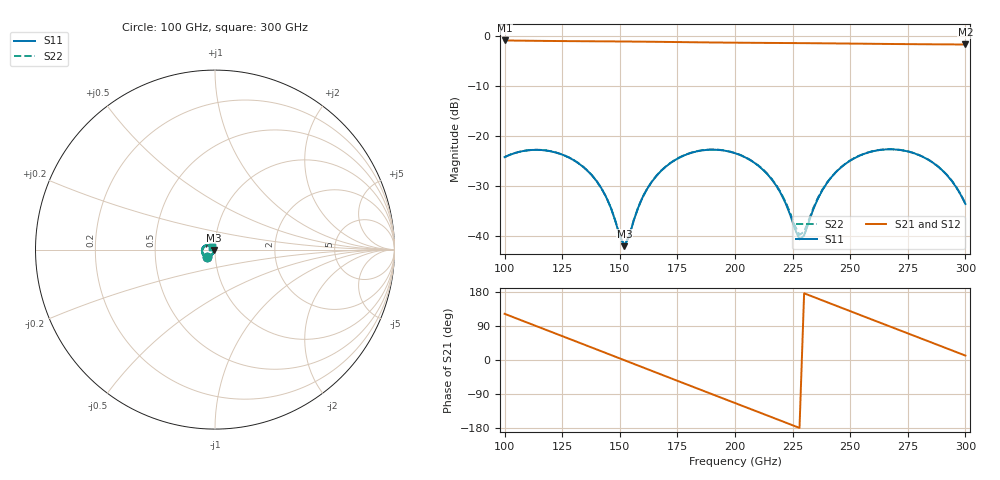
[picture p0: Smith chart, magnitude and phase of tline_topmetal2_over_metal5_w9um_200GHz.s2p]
#  GHZ S DB R 50
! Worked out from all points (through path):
!   101 points, 100 GHz to 300 GHz, reference 50 ohm
!   highest |S21| = -0.91 dB at 100 GHz (marker M1); lowest = -1.7 dB at 300 GHz (marker M2)
!   group delay of S21, straight-line fit = 6.53 ps
!   lowest |S11| = -42.0 dB at 152 GHz (marker M3), VSWR 1.02, Z = 49.2 - j0.145 ohm
!   |S11| at or under -10 dB: start of sweep to end of sweep
!   |S22| runs from -41.9 to -22.6 dB; largest |S21 - S12| = 1e-13
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100  -24.23 -134.6  -0.91 121.9  -0.91 121.9  -24.22 -134.5
116  -22.81 -170.4  -1.00 84.2  -1.00 84.2  -22.80 -170.1
124  -23.56 172.1  -1.03 65.4  -1.03 65.4  -23.54 172.5
134  -26.13 151.8  -1.07 41.9  -1.07 41.9  -26.12 152.3
144  -32.13 138.4  -1.10 18.3  -1.10 18.3  -32.11 139.2
152  -42.02 -169.3  -1.12 -0.6  -1.12 -0.6  -41.86 -168.4
160  -32.17 -115.6  -1.16 -19.5  -1.16 -19.5  -32.12 -115.2
168  -26.94 -125.1  -1.20 -38.4  -1.20 -38.4  -26.91 -124.5
184  -23.02 -157.0  -1.28 -76.0  -1.28 -76.0  -22.99 -156.1
200  -23.44 169.4  -1.36 -113.5  -1.36 -113.5  -23.40 170.7
216  -28.71 140.8  -1.41 -151.1  -1.41 -151.1  -28.61 142.9
222  -33.48 138.6  -1.43 -165.2  -1.43 -165.2  -33.25 141.6
228  -40.67 -179.8  -1.45 -179.3  -1.45 -179.3  -39.76 -178.6
230  -39.89 -149.0  -1.45 176.0  -1.45 176.0  -39.14 -150.8
234  -34.64 -123.0  -1.47 166.6  -1.47 166.6  -34.41 -124.9
240  -29.35 -122.2  -1.49 152.4  -1.49 152.4  -29.27 -123.0
248  -25.56 -134.1  -1.53 133.6  -1.53 133.6  -25.52 -134.2
258  -23.28 -153.2  -1.58 110.1  -1.58 110.1  -23.25 -152.9
268  -22.67 -173.3  -1.62 86.7  -1.62 86.7  -22.64 -172.8
286  -25.38 152.4  -1.68 44.5  -1.68 44.5  -25.34 153.4
294  -28.93 141.8  -1.71 25.8  -1.71 25.8  -28.87 143.1
300  -33.60 144.1  -1.72 11.7  -1.72 11.7  -33.47 145.7
